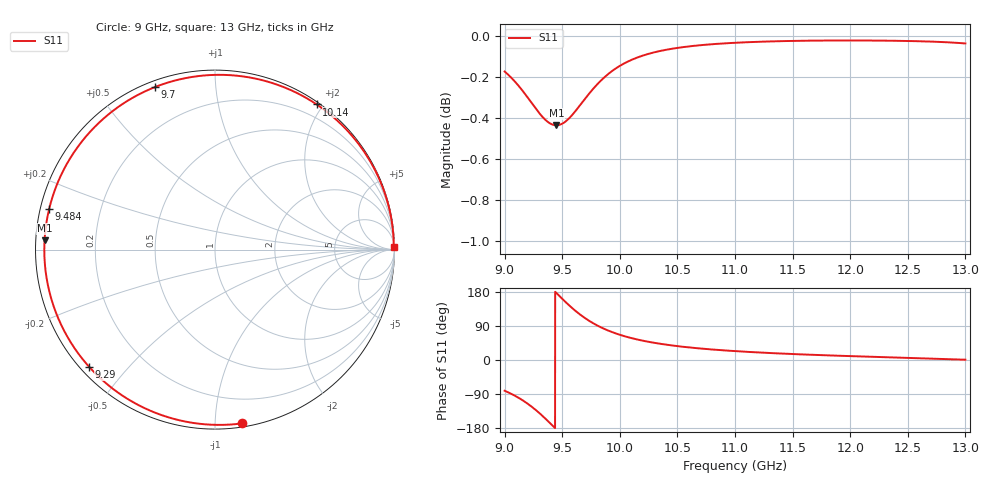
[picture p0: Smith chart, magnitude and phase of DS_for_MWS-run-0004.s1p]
! TOUCHSTONE file generated by CST DESIGN STUDIO
! Date and time: Tue Feb  4 13:17:38 2025
! Project name: C:\Work\MatlabApps\UnitCellOptimizationMatlab\CST\unitcell.cst
! Tree item: Tasks\Sweep1\SPara1\S-Parameters
! Header version: 2024
! Port assignment regex: !\s*Touchstone port\s*([0-9]+)\s*=\s*(CST MWS port|CST DES external port|CST DES block port)\s*(.+)\s* \(\"(.*)\"\)(\s*mode\s*([0-9]+))?.*
! Touchstone port assignment:
! Touchstone port 1 = CST DES external port 1 ("")
# GHz S MA R 50
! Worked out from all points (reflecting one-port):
!   4001 points, 9 GHz to 13 GHz, reference 50 ohm
!   lowest |S11| = -0.4 dB at 9.449 GHz (marker M1), VSWR 39.82, Z = 1.26 + j1.36 ohm
!   phase of S11 starts at -81 deg and turns -278 deg over the sweep
!   S11 on the Smith chart (normalised r, x): 9 GHz: 0.02, -1.17; 9.29 GHz: 0.02, -0.39; 9.484 GHz: 0.03, +0.12; 9.7 GHz: 0.03, +0.70; 10.14 GHz: 0.03, +1.92; 13 GHz: open
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9  0.9801 -81.2
9.09  0.9745 -94.4
9.163  0.969 -107.6
9.228  0.9635 -121.6
9.29  0.9583 -136.9
9.331  0.9553 -148.1
9.375  0.9528 -160.8
9.412  0.9515 -171.9
9.449  0.951 176.9
9.484  0.9514 166.3
9.5  0.9518 161.5
9.552  0.9542 146.5
9.601  0.9575 133.3
9.649  0.9613 121.4
9.7  0.9654 110.2
9.757  0.9697 99.1
9.822  0.9742 88.3
9.908  0.9791 76.6
10  0.9831 66.5
10.139  0.9874 55.0
10.302  0.9907 45.2
10.5  0.9931 36.6
10.722  0.9947 29.7
11  0.9959 23.5
11.5  0.997 15.7
12  0.9972 10.2
12.5  0.9969 5.6
13  0.9956 0.7
